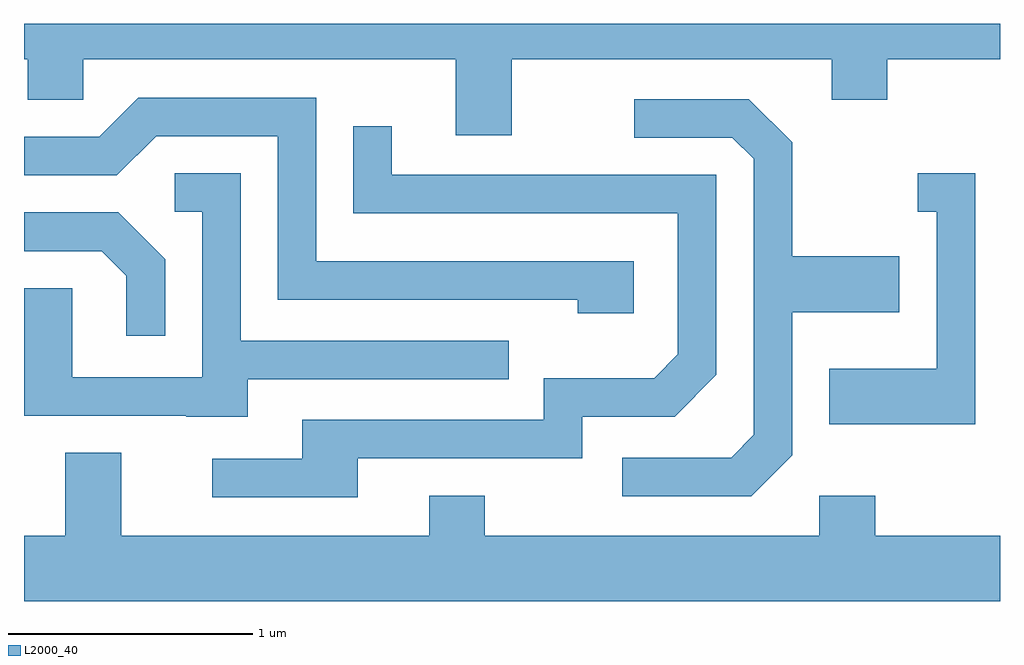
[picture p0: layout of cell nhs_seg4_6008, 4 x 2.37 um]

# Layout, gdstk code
import gdstk
lib = gdstk.Library(unit=1e-6, precision=1e-09)
def P(c, l, *ps):  # polygons
    for p in ps: c.add(gdstk.Polygon(p, *l))
L2000_40 = (2000, 40)

nhs_seg4_6008 = lib.new_cell('nhs_seg4_6008')
P(nhs_seg4_6008, L2000_40, [(363.609,1305.836),(364.921,1305.836),(364.921,1305.671),(365.149,1305.671),(365.149,1305.836),(365.611,1305.836),(365.611,1305.982),(361.611,1305.982),(361.611,1305.836),(361.626,1305.836),(361.626,1305.671),(361.854,1305.671),(361.854,1305.836),(363.381,1305.836),(363.381,1305.526),(363.609,1305.526)],
  [(364.109,1305.009),(362.809,1305.009),(362.809,1305.679),(362.079,1305.679),(361.919,1305.519),(361.611,1305.519),(361.611,1305.361),(361.992,1305.361),(362.152,1305.521),(362.651,1305.521),(362.651,1304.851),(363.881,1304.851),(363.881,1304.796),(364.109,1304.796)],
  [(364.759,1304.214),(364.759,1304.801),(365.199,1304.801),(365.199,1305.029),(364.759,1305.029),(364.759,1305.497),(364.582,1305.674),(364.113,1305.674),(364.113,1305.516),(364.514,1305.516),(364.601,1305.429),(364.601,1304.297),(364.509,1304.204),(364.063,1304.204),(364.063,1304.046),(364.592,1304.046)],
  [(362.979,1304.201),(363.899,1304.201),(363.899,1304.371),(364.277,1304.371),(364.449,1304.544),(364.449,1305.364),(363.119,1305.364),(363.119,1305.563),(362.961,1305.563),(362.961,1305.206),(364.291,1305.206),(364.291,1304.627),(364.194,1304.529),(363.741,1304.529),(363.741,1304.359),(362.751,1304.359),(362.751,1304.199),(362.383,1304.199),(362.383,1304.041),(362.979,1304.041)],
  [(362.529,1304.526),(363.598,1304.526),(363.598,1304.684),(362.499,1304.684),(362.499,1305.369),(362.228,1305.369),(362.228,1305.211),(362.341,1305.211),(362.341,1304.534),(361.809,1304.534),(361.809,1304.899),(361.611,1304.899),(361.611,1304.376),(362.275,1304.376),(362.275,1304.371),(362.529,1304.371)],
  [(365.509,1305.369),(365.273,1305.369),(365.273,1305.211),(365.351,1305.211),(365.351,1304.569),(364.911,1304.569),(364.911,1304.341),(365.509,1304.341)],
  [(362.189,1305.017),(361.997,1305.209),(361.611,1305.209),(361.611,1305.051),(361.929,1305.051),(362.031,1304.949),(362.031,1304.703),(362.189,1304.703)],
  [(365.611,1303.884),(365.099,1303.884),(365.099,1304.049),(364.871,1304.049),(364.871,1303.884),(363.499,1303.884),(363.499,1304.049),(363.271,1304.049),(363.271,1303.884),(362.009,1303.884),(362.009,1304.224),(361.781,1304.224),(361.781,1303.884),(361.611,1303.884),(361.611,1303.616),(365.611,1303.616)])

lib.write_gds('nhs_seg4_6008.gds')
